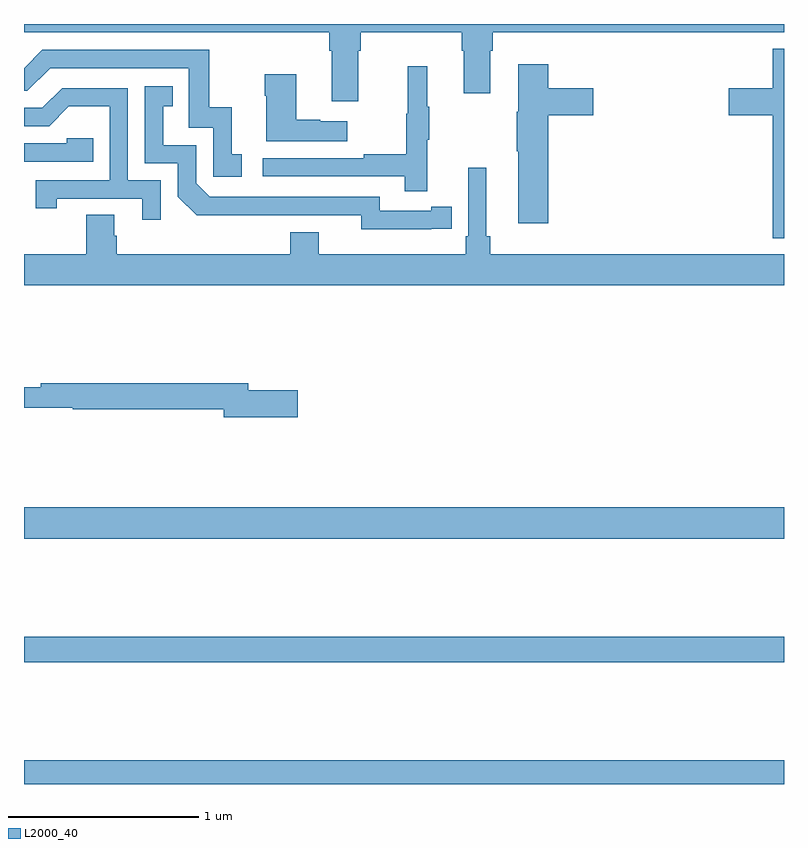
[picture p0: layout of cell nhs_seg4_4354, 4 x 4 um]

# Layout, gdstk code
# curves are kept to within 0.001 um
import gdstk
lib = gdstk.Library(unit=1e-6, precision=1e-09)
def R(c, l, rs):  # rectangles x0, y0, x1, y1
    for r in rs: c.add(gdstk.rectangle(r[:2], r[2:], *l))
def P(c, l, *ps):  # polygons
    for p in ps: c.add(gdstk.Polygon(p, *l))
L2000_40 = (2000, 40)

nhs_seg4_4354 = lib.new_cell('nhs_seg4_4354')
R(nhs_seg4_4354, L2000_40, [(345,756.9,349,757.024), (345,757.54,349,757.676), (345,758.192,349,758.356)])
P(nhs_seg4_4354, L2000_40, [(346.759,760.76),(346.772,760.76),(346.772,760.856),(347.303,760.856),(347.303,760.76),(347.315,760.76),(347.315,760.536),(347.455,760.536),(347.455,760.76),(347.468,760.76),(347.468,760.856),(349,760.856),(349,760.9),(345,760.9),(345,760.856),(346.607,760.856),(346.607,760.76),(346.619,760.76),(346.619,760.494),(346.759,760.494)],
  [(349,760.771),(348.941,760.771),(348.941,760.563),(348.708,760.563),(348.708,760.421),(348.941,760.421),(348.941,759.773),(349,759.773)],
  [(346.147,760.215),(346.094,760.215),(346.094,760.462),(345.976,760.462),(345.976,760.764),(345.096,760.764),(345,760.668),(345,760.548),(345.018,760.548),(345.138,760.668),(345.867,760.668),(345.867,760.353),(345.996,760.353),(345.996,760.095),(346.147,760.095)],
  [(347.759,760.421),(347.995,760.421),(347.995,760.563),(347.759,760.563),(347.759,760.687),(347.6,760.687),(347.6,760.437),(347.593,760.437),(347.593,760.231),(347.6,760.231),(347.6,759.852),(347.759,759.852)],
  [(347.123,760.291),(347.134,760.291),(347.134,760.465),(347.123,760.465),(347.123,760.678),(347.02,760.678),(347.02,760.428),(347.013,760.428),(347.013,760.214),(346.789,760.214),(346.789,760.194),(346.257,760.194),(346.257,760.098),(347.005,760.098),(347.005,760.02),(347.123,760.02)],
  [(346.702,760.387),(346.559,760.387),(346.559,760.397),(346.432,760.397),(346.432,760.636),(346.267,760.636),(346.267,760.523),(346.274,760.523),(346.274,760.283),(346.702,760.283)],
  [(347.144,759.822),(347.252,759.822),(347.252,759.938),(347.144,759.938),(347.144,759.918),(346.872,759.918),(346.872,759.99),(345.978,759.99),(345.906,760.062),(345.906,760.263),(345.733,760.263),(345.733,760.467),(345.782,760.467),(345.782,760.573),(345.636,760.573),(345.636,760.167),(345.81,760.167),(345.81,759.99),(345.908,759.893),(346.776,759.894),(346.776,759.821)],
  [(345.72,760.077),(345.546,760.077),(345.546,760.563),(345.2,760.563),(345.095,760.458),(345,760.458),(345,760.362),(345.132,760.362),(345.236,760.466),(345.45,760.466),(345.45,760.077),(345.061,760.077),(345.061,759.93),(345.172,759.93),(345.172,759.981),(345.623,759.981),(345.623,759.87),(345.72,759.87)],
  [(345.365,760.299),(345.225,760.299),(345.225,760.272),(345,760.272),(345,760.176),(345.365,760.176)],
  [(349,759.688),(347.453,759.688),(347.453,759.784),(347.434,759.784),(347.434,760.144),(347.337,760.144),(347.337,759.784),(347.324,759.784),(347.324,759.688),(346.552,759.688),(346.552,759.805),(346.4,759.805),(346.4,759.688),(345.488,759.688),(345.488,759.786),(345.475,759.786),(345.475,759.896),(345.328,759.896),(345.328,759.688),(345,759.688),(345,759.524),(349,759.524)],
  [(346.441,758.972),(346.18,758.972),(346.18,759.008),(345.088,759.008),(345.088,758.989),(345,758.989),(345,758.88),(345.256,758.88),(345.256,758.872),(346.052,758.872),(346.052,758.83),(346.441,758.83)])

lib.write_gds('nhs_seg4_4354.gds')
